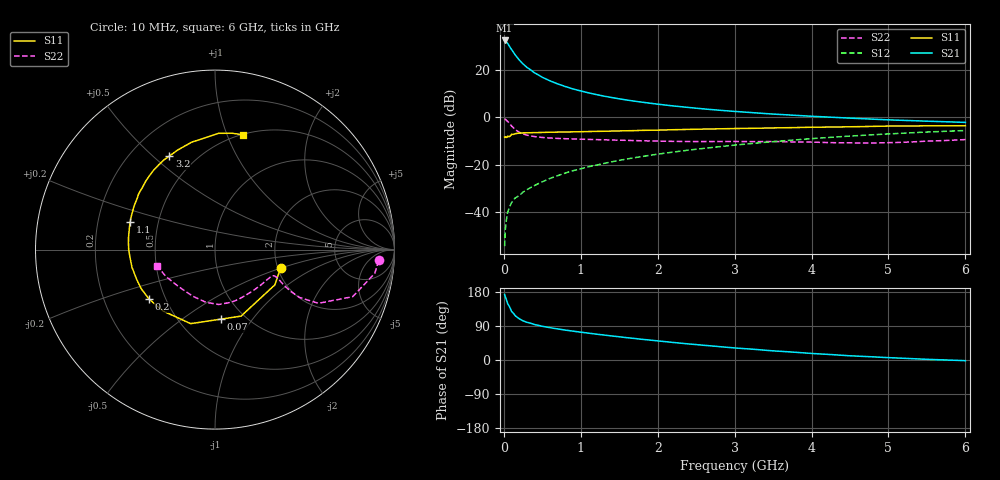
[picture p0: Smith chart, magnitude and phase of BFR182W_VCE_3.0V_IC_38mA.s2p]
! Infineon Technologies  Discrete & RF Semiconductors
! BFR182W
! VCE =  3.0 V,  IC =  38 mA
! Common Emitter S-Parameters:  Jan 2017
# GHz  S  MA  R  50
!  f  S11  S21  S12  S22
! GHz  MAG  ANG  MAG  ANG  MAG  ANG  MAG  ANG
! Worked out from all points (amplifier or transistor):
!   77 points, 10 MHz to 6 GHz, reference 50 ohm
!   highest |S21| = 32.3 dB at 10 MHz (marker M1)
!   |S21| within 3 dB of that: start of sweep to 83.42 MHz
!   unconditionally stable (mu >= 1): 365.4 MHz to 2.446 GHz
!   at 130 MHz: K = 0.62, MSG = 31.0 dB, |S12| = -34.8 dB
!   at 2.2 GHz: K = 1.03, MAG = 8.7 dB, |S12| = -14.8 dB
!   at 6 GHz: K = 0.92, MSG = 1.7 dB, |S12| = -5.6 dB
!   S11 on the Smith chart (normalised r, x): 10 MHz: 2.08, -0.49; 70 MHz: 0.78, -0.71; 200 MHz: 0.40, -0.28; 1.1 GHz: 0.34, +0.14; 3.2 GHz: 0.36, +0.57; 6 GHz: 0.50, +1.14
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0.01  0.3797 -15.5  41.39 172.9  0.0019 75.1  0.9139 -3.8
0.02  0.3871 -30.5  41.03 166.5  0.0043 74.8  0.9001 -8.4
0.05  0.398 -68.6  35.85 148.4  0.0099 68.0  0.8104 -18.9
0.07  0.3888 -85.1  31.75 141.8  0.0122 64.7  0.7442 -21.9
0.1  0.4343 -108.2  26.7 128.3  0.0157 61.6  0.6496 -27.4
0.15  0.4484 -130.4  20.27 116.4  0.0199 60.5  0.5426 -29.5
0.2  0.4595 -143.4  16.05 108.8  0.0221 62.3  0.4807 -28.9
0.25  0.4654 -152.2  13.22 103.3  0.0263 62.7  0.4424 -27.7
0.3  0.4667 -158.8  11.19 99.5  0.0295 63.6  0.4166 -26.5
0.4  0.473 -167.9  8.583 93.4  0.0362 67.4  0.3885 -24.9
0.5  0.4752 -174.5  6.927 89.0  0.0433 69.5  0.3727 -24.1
0.6  0.4808 -179.7  5.823 85.3  0.051 71.4  0.3627 -23.9
0.7  0.4834 175.9  5.017 82.0  0.0582 72.7  0.3558 -24.2
0.9  0.4889 168.5  3.93 76.1  0.0742 73.8  0.3465 -25.9
1.1  0.4969 162.2  3.254 70.9  0.0898 74.0  0.3393 -28.5
1.5  0.5121 151.5  2.431 61.3  0.1226 73.2  0.3259 -35.2
2.1  0.5367 137.5  1.798 48.4  0.1743 70.0  0.3101 -49.1
3.1  0.5773 117.8  1.286 30.4  0.2658 61.8  0.3055 -75.9
3.2  0.5802 116.0  1.253 29.0  0.2752 60.9  0.3049 -78.5
4.1  0.6144 100.7  1.025 16.1  0.3612 51.7  0.2942 -102.8
5.1  0.6489 86.9  0.865 5.4  0.451 40.3  0.2917 -138.1
6  0.6587 76.3  0.775 -1.8  0.5225 29.8  0.3363 -164.7
